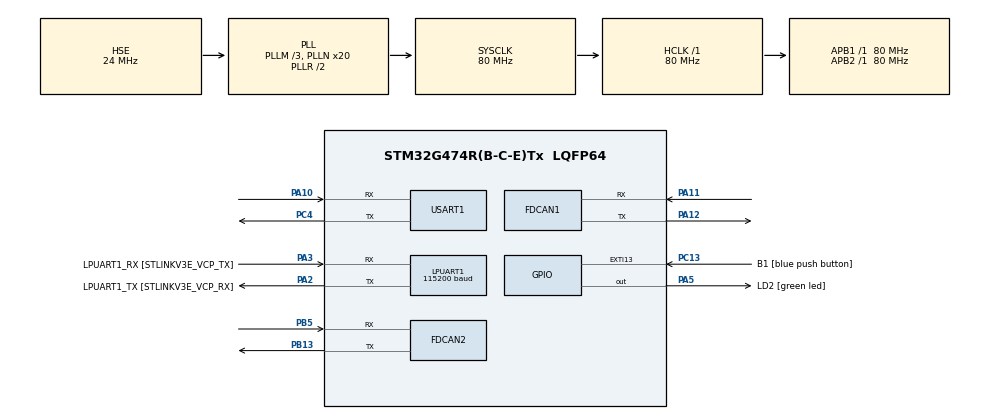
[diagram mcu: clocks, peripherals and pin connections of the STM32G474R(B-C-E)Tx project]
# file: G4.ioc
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FDCAN1.DataSyncJumpWidth=5
FDCAN1.DataTimeSeg1=10
FDCAN1.DataTimeSeg2=5
FDCAN1.FrameFormat=FDCAN_FRAME_FD_BRS
FDCAN1.NominalSyncJumpWidth=50
FDCAN1.NominalTimeSeg1=109
FDCAN1.NominalTimeSeg2=50
FDCAN1.TxFifoQueueMode=FDCAN_TX_FIFO_OPERATION
LPUART1.BaudRate=115200
LPUART1.WordLength=UART_WORDLENGTH_8B
Mcu.Family=STM32G4
Mcu.Name=STM32G474R(B-C-E)Tx
Mcu.Package=LQFP64
NVIC.EXTI15_10_IRQn=true\:0\:0\:false\:false\:true\:true\:true
NVIC.PriorityGroup=NVIC_PRIORITYGROUP_4
PA10.Mode=Asynchronous
PA10.Signal=USART1_RX
PA11.GPIO_Speed=GPIO_SPEED_FREQ_VERY_HIGH
PA11.Mode=FDCAN_Activate
PA11.Signal=FDCAN1_RX
PA12.GPIO_Speed=GPIO_SPEED_FREQ_VERY_HIGH
PA12.Mode=FDCAN_Activate
PA12.Signal=FDCAN1_TX
PA13.GPIO_Label=T_SWDIO
PA13.Mode=Serial_Wire
PA13.Signal=SYS_JTMS-SWDIO
PA14.GPIO_Label=T_SWCLK
PA14.Mode=Serial_Wire
PA14.Signal=SYS_JTCK-SWCLK
PA2.GPIO_Label=LPUART1_TX [STLINKV3E_VCP_RX]
PA2.Mode=Asynchronous
PA2.Signal=LPUART1_TX
PA3.GPIO_Label=LPUART1_RX [STLINKV3E_VCP_TX]
PA3.Mode=Asynchronous
PA3.Signal=LPUART1_RX
PA5.GPIO_Label=LD2 [green led]
PA5.Signal=GPIO_Output
PB13.Mode=FDCAN_Activate
PB13.Signal=FDCAN2_TX
PB3.GPIO_Label=T_SWO
PB3.Signal=SYS_JTDO-SWO
PB5.Mode=FDCAN_Activate
PB5.Signal=FDCAN2_RX
PC13.GPIO_Label=B1 [blue push button]
PC13.Signal=GPXTI13
PC14-OSC32_IN.Mode=LSE-External-Oscillator
PC14-OSC32_IN.Signal=RCC_OSC32_IN
PC15-OSC32_OUT.Mode=LSE-External-Oscillator
PC15-OSC32_OUT.Signal=RCC_OSC32_OUT
PC4.Mode=Asynchronous
PC4.Signal=USART1_TX
PF0-OSC_IN.Mode=HSE-External-Oscillator
PF0-OSC_IN.Signal=RCC_OSC_IN
PF1-OSC_OUT.Mode=HSE-External-Oscillator
PF1-OSC_OUT.Signal=RCC_OSC_OUT
ProjectManager.HeapSize=0x200
ProjectManager.StackSize=0x400
ProjectManager.TargetToolchain=STM32CubeIDE
RCC.ADC12Freq_Value=80000000
RCC.ADC345Freq_Value=80000000
RCC.AHBFreq_Value=80000000
RCC.APB1Freq_Value=80000000
RCC.APB1TimFreq_Value=80000000
RCC.APB2Freq_Value=80000000
RCC.APB2TimFreq_Value=80000000
RCC.CortexFreq_Value=80000000
RCC.EXTERNAL_CLOCK_VALUE=12288000
RCC.FDCANCLockSelection=RCC_FDCANCLKSOURCE_PLL
RCC.HCLKFreq_Value=80000000
RCC.HSE_VALUE=24000000
RCC.HSI48_VALUE=48000000
RCC.HSI_VALUE=16000000
RCC.PLLM=RCC_PLLM_DIV3
RCC.PLLN=20
RCC.PLLSourceVirtual=RCC_PLLSOURCE_HSE
RCC.RTCClockSelection=RCC_RTCCLKSOURCE_LSE
RCC.SYSCLKFreq_VALUE=80000000
RCC.SYSCLKSource=RCC_SYSCLKSOURCE_PLLCLK
RCC.USBFreq_Value=80000000
RCC.VCOOutputFreq_Value=160000000
USART1.VirtualMode-Asynchronous=VM_ASYNC
VP_SYS_VS_DBSignals.Mode=DisableDeadBatterySignals
board=NUCLEO-G474RE

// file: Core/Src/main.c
/* USER CODE BEGIN Header */
/**
  ******************************************************************************
  * @file           : main.c
  * @brief          : Main program body
  ******************************************************************************
  * @attention
  *
  * <h2><center>&copy; Copyright (c) 2021 STMicroelectronics.
  * All rights reserved.</center></h2>
  *
  * This software component is licensed by ST under BSD 3-Clause license,
  * the "License"; You may not use this file except in compliance with the
  * License. You may obtain a copy of the License at:
  *                        opensource.org/licenses/BSD-3-Clause
  *
  ******************************************************************************
  */
/* USER CODE END Header */
#include "main.h"

FDCAN_HandleTypeDef hfdcan1;
FDCAN_HandleTypeDef hfdcan2;

UART_HandleTypeDef hlpuart1;
UART_HandleTypeDef huart1;

/* USER CODE BEGIN PV */
FDCAN_RxHeaderTypeDef RxHeader;
uint8_t RxData[8];
FDCAN_TxHeaderTypeDef TxHeader;
uint8_t TxData[] = "This is a 64 character long string. I really hope it works, pls!";
/* USER CODE END PV */

void SystemClock_Config(void);
static void MX_GPIO_Init(void);
static void MX_LPUART1_UART_Init(void);
static void MX_FDCAN1_Init(void);
static void MX_FDCAN2_Init(void);
static void MX_USART1_UART_Init(void);
/* USER CODE BEGIN PFP */
static void FDCAN_Config(void);
/* USER CODE END PFP */

int main(void)
{

  /* MCU Configuration--------------------------------------------------------*/

  /* Reset of all peripherals, Initializes the Flash interface and the Systick. */
  HAL_Init();

  /* Configure the system clock */
  SystemClock_Config();

  /* Initialize all configured peripherals */
  MX_GPIO_Init();
  MX_LPUART1_UART_Init();
  MX_FDCAN1_Init();
  MX_FDCAN2_Init();
  MX_USART1_UART_Init();
  /* USER CODE BEGIN 2 */
  FDCAN_Config();
  /* USER CODE END 2 */

  /* Infinite loop */
  /* USER CODE BEGIN WHILE */
  while (1)
  {

	  	  /* Start the Transmission process */
	  	  if (HAL_FDCAN_AddMessageToTxFifoQ(&hfdcan1, &TxHeader, TxData) == HAL_OK)
	  	  {
	  		/* Transmission request Error */
	  		HAL_GPIO_TogglePin(GPIOA, GPIO_PIN_5);
	  		HAL_Delay(100);
	  		HAL_GPIO_TogglePin(GPIOA, GPIO_PIN_5);
	  	  }
	  	  else
	  	  {
	  		Error_Handler();
	  	  }
	  	  HAL_Delay(500);
    /* USER CODE END WHILE */

  }
}

void SystemClock_Config(void)
{
  RCC_OscInitTypeDef RCC_OscInitStruct = {0};
  RCC_ClkInitTypeDef RCC_ClkInitStruct = {0};
  RCC_PeriphCLKInitTypeDef PeriphClkInit = {0};

  /** Configure the main internal regulator output voltage
  */
  HAL_PWREx_ControlVoltageScaling(PWR_REGULATOR_VOLTAGE_SCALE1);
  /** Initializes the RCC Oscillators according to the specified parameters
  * in the RCC_OscInitTypeDef structure.
  */
  RCC_OscInitStruct.OscillatorType = RCC_OSCILLATORTYPE_HSE;
  RCC_OscInitStruct.HSEState = RCC_HSE_ON;
  RCC_OscInitStruct.PLL.PLLState = RCC_PLL_ON;
  RCC_OscInitStruct.PLL.PLLSource = RCC_PLLSOURCE_HSE;
  RCC_OscInitStruct.PLL.PLLM = RCC_PLLM_DIV3;
  RCC_OscInitStruct.PLL.PLLN = 20;
  RCC_OscInitStruct.PLL.PLLP = RCC_PLLP_DIV2;
  RCC_OscInitStruct.PLL.PLLQ = RCC_PLLQ_DIV2;
  RCC_OscInitStruct.PLL.PLLR = RCC_PLLR_DIV2;
  if (HAL_RCC_OscConfig(&RCC_OscInitStruct) != HAL_OK)
  {
    Error_Handler();
  }
  /** Initializes the CPU, AHB and APB buses clocks
  */
  RCC_ClkInitStruct.ClockType = RCC_CLOCKTYPE_HCLK|RCC_CLOCKTYPE_SYSCLK
                              |RCC_CLOCKTYPE_PCLK1|RCC_CLOCKTYPE_PCLK2;
  RCC_ClkInitStruct.SYSCLKSource = RCC_SYSCLKSOURCE_PLLCLK;
  RCC_ClkInitStruct.AHBCLKDivider = RCC_SYSCLK_DIV1;
  RCC_ClkInitStruct.APB1CLKDivider = RCC_HCLK_DIV1;
  RCC_ClkInitStruct.APB2CLKDivider = RCC_HCLK_DIV1;

  if (HAL_RCC_ClockConfig(&RCC_ClkInitStruct, FLASH_LATENCY_2) != HAL_OK)
  {
    Error_Handler();
  }
  /** Initializes the peripherals clocks
  */
  PeriphClkInit.PeriphClockSelection = RCC_PERIPHCLK_USART1|RCC_PERIPHCLK_LPUART1
                              |RCC_PERIPHCLK_FDCAN;
  PeriphClkInit.Usart1ClockSelection = RCC_USART1CLKSOURCE_PCLK2;
  PeriphClkInit.Lpuart1ClockSelection = RCC_LPUART1CLKSOURCE_PCLK1;
  PeriphClkInit.FdcanClockSelection = RCC_FDCANCLKSOURCE_PLL;
  if (HAL_RCCEx_PeriphCLKConfig(&PeriphClkInit) != HAL_OK)
  {
    Error_Handler();
  }
}

static void MX_FDCAN1_Init(void)
{

  hfdcan1.Instance = FDCAN1;
  hfdcan1.Init.ClockDivider = FDCAN_CLOCK_DIV1;
  hfdcan1.Init.FrameFormat = FDCAN_FRAME_FD_BRS;
  hfdcan1.Init.Mode = FDCAN_MODE_NORMAL;
  hfdcan1.Init.AutoRetransmission = DISABLE;
  hfdcan1.Init.TransmitPause = DISABLE;
  hfdcan1.Init.ProtocolException = DISABLE;
  hfdcan1.Init.NominalPrescaler = 1;
  hfdcan1.Init.NominalSyncJumpWidth = 50;
  hfdcan1.Init.NominalTimeSeg1 = 109;
  hfdcan1.Init.NominalTimeSeg2 = 50;
  hfdcan1.Init.DataPrescaler = 1;
  hfdcan1.Init.DataSyncJumpWidth = 5;
  hfdcan1.Init.DataTimeSeg1 = 10;
  hfdcan1.Init.DataTimeSeg2 = 5;
  hfdcan1.Init.StdFiltersNbr = 0;
  hfdcan1.Init.ExtFiltersNbr = 0;
  hfdcan1.Init.TxFifoQueueMode = FDCAN_TX_FIFO_OPERATION;
  if (HAL_FDCAN_Init(&hfdcan1) != HAL_OK)
  {
    Error_Handler();
  }

}

static void MX_FDCAN2_Init(void)
{

  hfdcan2.Instance = FDCAN2;
  hfdcan2.Init.FrameFormat = FDCAN_FRAME_CLASSIC;
  hfdcan2.Init.Mode = FDCAN_MODE_NORMAL;
  hfdcan2.Init.AutoRetransmission = DISABLE;
  hfdcan2.Init.TransmitPause = DISABLE;
  hfdcan2.Init.ProtocolException = DISABLE;
  hfdcan2.Init.NominalPrescaler = 1;
  hfdcan2.Init.NominalSyncJumpWidth = 1;
  hfdcan2.Init.NominalTimeSeg1 = 2;
  hfdcan2.Init.NominalTimeSeg2 = 2;
  hfdcan2.Init.DataPrescaler = 1;
  hfdcan2.Init.DataSyncJumpWidth = 1;
  hfdcan2.Init.DataTimeSeg1 = 1;
  hfdcan2.Init.DataTimeSeg2 = 1;
  hfdcan2.Init.StdFiltersNbr = 0;
  hfdcan2.Init.ExtFiltersNbr = 0;
  hfdcan2.Init.TxFifoQueueMode = FDCAN_TX_FIFO_OPERATION;
  if (HAL_FDCAN_Init(&hfdcan2) != HAL_OK)
  {
    Error_Handler();
  }

}

static void MX_LPUART1_UART_Init(void)
{

  hlpuart1.Instance = LPUART1;
  hlpuart1.Init.BaudRate = 115200;
  hlpuart1.Init.WordLength = UART_WORDLENGTH_8B;
  hlpuart1.Init.StopBits = UART_STOPBITS_1;
  hlpuart1.Init.Parity = UART_PARITY_NONE;
  hlpuart1.Init.Mode = UART_MODE_TX_RX;
  hlpuart1.Init.HwFlowCtl = UART_HWCONTROL_NONE;
  hlpuart1.Init.OneBitSampling = UART_ONE_BIT_SAMPLE_DISABLE;
  hlpuart1.Init.ClockPrescaler = UART_PRESCALER_DIV1;
  hlpuart1.AdvancedInit.AdvFeatureInit = UART_ADVFEATURE_NO_INIT;
  if (HAL_UART_Init(&hlpuart1) != HAL_OK)
  {
    Error_Handler();
  }
  if (HAL_UARTEx_SetTxFifoThreshold(&hlpuart1, UART_TXFIFO_THRESHOLD_1_8) != HAL_OK)
  {
    Error_Handler();
  }
  if (HAL_UARTEx_SetRxFifoThreshold(&hlpuart1, UART_RXFIFO_THRESHOLD_1_8) != HAL_OK)
  {
    Error_Handler();
  }
  if (HAL_UARTEx_DisableFifoMode(&hlpuart1) != HAL_OK)
  {
    Error_Handler();
  }

}

static void MX_USART1_UART_Init(void)
{

  huart1.Instance = USART1;
  huart1.Init.BaudRate = 115200;
  huart1.Init.WordLength = UART_WORDLENGTH_8B;
  huart1.Init.StopBits = UART_STOPBITS_1;
  huart1.Init.Parity = UART_PARITY_NONE;
  huart1.Init.Mode = UART_MODE_TX_RX;
  huart1.Init.HwFlowCtl = UART_HWCONTROL_NONE;
  huart1.Init.OverSampling = UART_OVERSAMPLING_16;
  huart1.Init.OneBitSampling = UART_ONE_BIT_SAMPLE_DISABLE;
  huart1.Init.ClockPrescaler = UART_PRESCALER_DIV1;
  huart1.AdvancedInit.AdvFeatureInit = UART_ADVFEATURE_NO_INIT;
  if (HAL_UART_Init(&huart1) != HAL_OK)
  {
    Error_Handler();
  }
  if (HAL_UARTEx_SetTxFifoThreshold(&huart1, UART_TXFIFO_THRESHOLD_1_8) != HAL_OK)
  {
    Error_Handler();
  }
  if (HAL_UARTEx_SetRxFifoThreshold(&huart1, UART_RXFIFO_THRESHOLD_1_8) != HAL_OK)
  {
    Error_Handler();
  }
  if (HAL_UARTEx_DisableFifoMode(&huart1) != HAL_OK)
  {
    Error_Handler();
  }

}

static void MX_GPIO_Init(void)
{
  GPIO_InitTypeDef GPIO_InitStruct = {0};

  /* GPIO Ports Clock Enable */
  __HAL_RCC_GPIOC_CLK_ENABLE();
  __HAL_RCC_GPIOF_CLK_ENABLE();
  __HAL_RCC_GPIOA_CLK_ENABLE();
  __HAL_RCC_GPIOB_CLK_ENABLE();

  /*Configure GPIO pin Output Level */
  HAL_GPIO_WritePin(LD2_GPIO_Port, LD2_Pin, GPIO_PIN_RESET);

  /*Configure GPIO pin : B1_Pin */
  GPIO_InitStruct.Pin = B1_Pin;
  GPIO_InitStruct.Mode = GPIO_MODE_IT_RISING;
  GPIO_InitStruct.Pull = GPIO_NOPULL;
  HAL_GPIO_Init(B1_GPIO_Port, &GPIO_InitStruct);

  /*Configure GPIO pin : LD2_Pin */
  GPIO_InitStruct.Pin = LD2_Pin;
  GPIO_InitStruct.Mode = GPIO_MODE_OUTPUT_PP;
  GPIO_InitStruct.Pull = GPIO_NOPULL;
  GPIO_InitStruct.Speed = GPIO_SPEED_FREQ_LOW;
  HAL_GPIO_Init(LD2_GPIO_Port, &GPIO_InitStruct);

  /* EXTI interrupt init*/
  HAL_NVIC_SetPriority(EXTI15_10_IRQn, 0, 0);
  HAL_NVIC_EnableIRQ(EXTI15_10_IRQn);

}

/* USER CODE BEGIN 4 */
static void FDCAN_Config(void){
	FDCAN_FilterTypeDef sFilterConfig;

	  /* Configure Rx filter */
	  sFilterConfig.IdType = FDCAN_STANDARD_ID;
	  sFilterConfig.FilterIndex = 0;
	  sFilterConfig.FilterType = FDCAN_FILTER_MASK;
	  sFilterConfig.FilterConfig = FDCAN_FILTER_TO_RXFIFO0;
	  sFilterConfig.FilterID1 = 0x321;
	  sFilterConfig.FilterID2 = 0x7FF;
	  if (HAL_FDCAN_ConfigFilter(&hfdcan1, &sFilterConfig) != HAL_OK)
	  {
	    Error_Handler();
	  }

	  /* Configure global filter:
	     Filter all remote frames with STD and EXT ID
	     Reject non matching frames with STD ID and EXT ID */
	  if (HAL_FDCAN_ConfigGlobalFilter(&hfdcan1, FDCAN_REJECT, FDCAN_REJECT, FDCAN_FILTER_REMOTE, FDCAN_FILTER_REMOTE) != HAL_OK)
	  {
	    Error_Handler();
	  }
	if (HAL_FDCAN_Start(&hfdcan1) != HAL_OK)
	  {
	    Error_Handler();
	  }
	  TxHeader.Identifier = 0x321;
	  TxHeader.IdType = FDCAN_STANDARD_ID;
	  TxHeader.TxFrameType = FDCAN_DATA_FRAME;
	  TxHeader.DataLength = FDCAN_DLC_BYTES_64;
	  TxHeader.ErrorStateIndicator = FDCAN_ESI_ACTIVE;
	  TxHeader.BitRateSwitch = FDCAN_BRS_ON;
	  TxHeader.FDFormat = FDCAN_FD_CAN;
	  TxHeader.TxEventFifoControl = FDCAN_NO_TX_EVENTS;
	  TxHeader.MessageMarker = 0;

	  HAL_FDCAN_EnableTxDelayCompensation(&hfdcan1);

}
/* USER CODE END 4 */

void Error_Handler(void)
{
}

/************************ (C) COPYRIGHT STMicroelectronics *****END OF FILE****/
